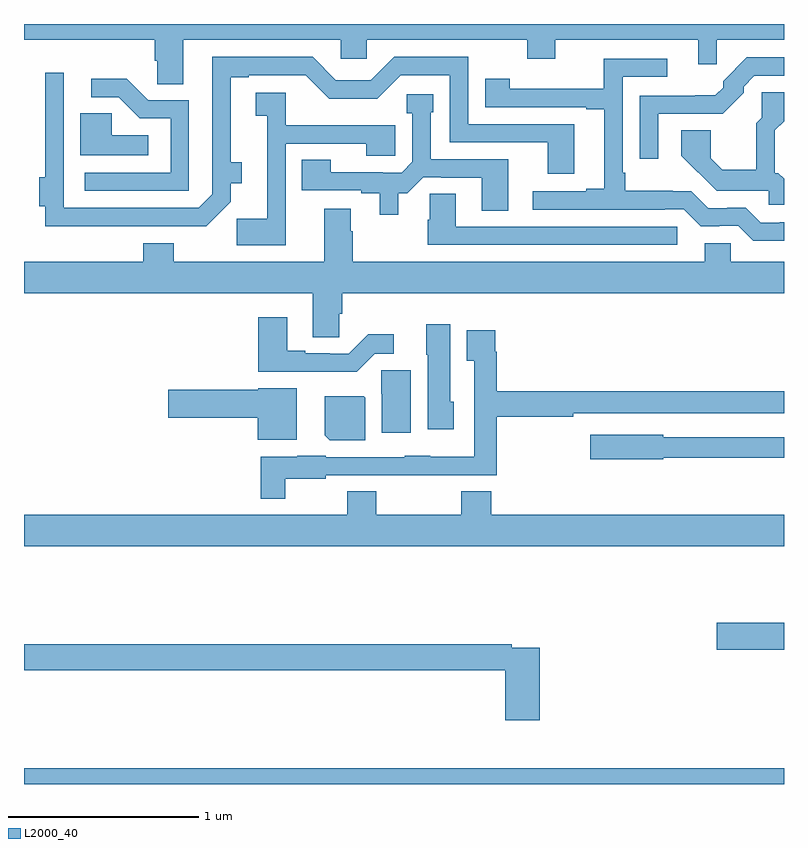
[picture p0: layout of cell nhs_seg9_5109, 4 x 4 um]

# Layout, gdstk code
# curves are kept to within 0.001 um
import gdstk
lib = gdstk.Library(unit=1e-6, precision=1e-09)
def R(c, l, rs):  # rectangles x0, y0, x1, y1
    for r in rs: c.add(gdstk.rectangle(r[:2], r[2:], *l))
def P(c, l, *ps):  # polygons
    for p in ps: c.add(gdstk.Polygon(p, *l))
L2000_40 = (2000, 40)

nhs_seg9_5109 = lib.new_cell('nhs_seg9_5109')
R(nhs_seg9_5109, L2000_40, [(407,1196.5,411,1196.584), (410.646,1197.206,411,1197.348)])
P(nhs_seg9_5109, L2000_40, [(407.839,1200.416),(408.666,1200.416),(408.666,1200.318),(408.804,1200.318),(408.804,1200.416),(409.648,1200.416),(409.648,1200.317),(409.795,1200.317),(409.795,1200.416),(410.549,1200.416),(410.549,1200.287),(410.645,1200.287),(410.645,1200.416),(411,1200.416),(411,1200.5),(407,1200.5),(407,1200.416),(407.687,1200.416),(407.687,1200.307),(407.7,1200.307),(407.7,1200.184),(407.839,1200.184)],
  [(407.543,1199.436),(407.959,1199.435),(408.089,1199.564),(408.089,1199.663),(408.145,1199.663),(408.145,1199.773),(408.088,1199.773),(408.088,1200.219),(408.184,1200.219),(408.184,1200.231),(408.482,1200.231),(408.606,1200.107),(408.86,1200.107),(408.984,1200.231),(409.242,1200.231),(409.242,1199.877),(409.757,1199.877),(409.757,1199.712),(409.897,1199.712),(409.897,1199.973),(409.338,1199.973),(409.338,1200.327),(408.948,1200.327),(408.825,1200.204),(408.642,1200.204),(408.519,1200.327),(407.991,1200.327),(407.991,1199.604),(407.919,1199.532),(407.208,1199.532),(407.208,1200.244),(407.112,1200.244),(407.112,1199.693),(407.081,1199.693),(407.081,1199.54),(407.112,1199.54),(407.112,1199.435)],
  [(410.337,1200.027),(410.677,1200.027),(410.787,1200.137),(410.787,1200.171),(410.844,1200.228),(411,1200.228),(411,1200.324),(410.804,1200.324),(410.679,1200.199),(410.679,1200.165),(410.638,1200.124),(410.241,1200.123),(410.241,1199.79),(410.337,1199.79)],
  [(411,1199.457),(410.977,1199.457),(410.977,1199.454),(410.877,1199.454),(410.799,1199.532),(410.702,1199.532),(410.702,1199.529),(410.601,1199.529),(410.511,1199.619),(410.414,1199.619),(410.414,1199.623),(410.164,1199.623),(410.164,1199.716),(410.151,1199.716),(410.151,1200.222),(410.386,1200.222),(410.386,1200.318),(410.05,1200.318),(410.05,1200.16),(409.556,1200.16),(409.556,1200.211),(409.428,1200.211),(409.428,1200.063),(409.958,1200.063),(409.958,1200.051),(410.054,1200.051),(410.054,1199.632),(409.958,1199.632),(409.958,1199.619),(409.677,1199.619),(409.677,1199.523),(410.372,1199.523),(410.372,1199.526),(410.472,1199.526),(410.562,1199.436),(410.66,1199.436),(410.66,1199.439),(410.76,1199.439),(410.839,1199.36),(411,1199.36)],
  [(407.868,1200.099),(407.655,1200.099),(407.542,1200.212),(407.355,1200.212),(407.355,1200.114),(407.499,1200.114),(407.61,1200.003),(407.772,1200.003),(407.772,1199.718),(407.319,1199.718),(407.319,1199.622),(407.868,1199.622)],
  [(411,1199.685),(410.97,1199.715),(410.952,1199.715),(410.952,1199.94),(411,1199.988),(411,1200.142),(410.883,1200.142),(410.883,1200.007),(410.854,1199.978),(410.854,1199.733),(410.675,1199.733),(410.614,1199.794),(410.614,1199.942),(410.46,1199.942),(410.46,1199.806),(410.645,1199.622),(410.919,1199.622),(410.919,1199.55),(411,1199.55)],
  [(408.378,1199.871),(408.802,1199.871),(408.802,1199.806),(408.955,1199.806),(408.955,1199.967),(408.845,1199.967),(408.845,1199.968),(408.378,1199.968),(408.378,1200.139),(408.219,1200.139),(408.219,1200.018),(408.281,1200.018),(408.281,1199.475),(408.12,1199.475),(408.12,1199.336),(408.378,1199.336)],
  [(408.97,1199.61),(409.017,1199.61),(409.101,1199.694),(409.195,1199.694),(409.195,1199.691),(409.409,1199.691),(409.409,1199.518),(409.549,1199.518),(409.549,1199.787),(409.14,1199.787),(409.14,1200.036),(409.153,1200.036),(409.153,1200.129),(409.014,1200.129),(409.014,1200.031),(409.044,1200.031),(409.044,1199.775),(408.987,1199.718),(408.887,1199.718),(408.887,1199.721),(408.615,1199.721),(408.615,1199.786),(408.463,1199.786),(408.463,1199.625),(408.776,1199.625),(408.776,1199.61),(408.872,1199.61),(408.872,1199.496),(408.97,1199.496)],
  [(407.653,1199.914),(407.461,1199.914),(407.461,1200.029),(407.297,1200.029),(407.297,1199.81),(407.653,1199.81)],
  [(410.437,1199.433),(409.273,1199.433),(409.273,1199.606),(409.135,1199.606),(409.135,1199.469),(409.126,1199.469),(409.126,1199.337),(410.437,1199.337)],
  [(408.66,1198.974),(408.674,1198.974),(408.674,1199.084),(411,1199.084),(411,1199.248),(410.721,1199.248),(410.721,1199.346),(410.582,1199.346),(410.582,1199.248),(408.729,1199.248),(408.729,1199.408),(408.721,1199.408),(408.721,1199.527),(408.581,1199.527),(408.581,1199.248),(407.787,1199.248),(407.787,1199.347),(407.627,1199.347),(407.627,1199.248),(407,1199.248),(407,1199.084),(408.521,1199.084),(408.521,1198.852),(408.66,1198.852)],
  [(408.846,1198.764),(408.946,1198.764),(408.946,1198.867),(408.811,1198.867),(408.708,1198.764),(408.608,1198.764),(408.608,1198.767),(408.481,1198.767),(408.481,1198.78),(408.385,1198.78),(408.385,1198.957),(408.233,1198.957),(408.233,1198.67),(408.751,1198.67)],
  [(409.261,1198.512),(409.243,1198.512),(409.243,1198.921),(409.118,1198.921),(409.118,1198.758),(409.124,1198.758),(409.124,1198.368),(409.261,1198.368)],
  [(408.376,1198.106),(408.588,1198.106),(408.588,1198.125),(409.005,1198.125),(409.005,1198.124),(409.237,1198.124),(409.237,1198.125),(409.487,1198.125),(409.487,1198.432),(409.892,1198.432),(409.892,1198.452),(411,1198.452),(411,1198.568),(409.487,1198.568),(409.487,1198.775),(409.48,1198.775),(409.48,1198.888),(409.331,1198.888),(409.331,1198.727),(409.371,1198.727),(409.371,1198.222),(409.137,1198.222),(409.137,1198.228),(409.005,1198.228),(409.005,1198.221),(408.588,1198.221),(408.588,1198.228),(408.438,1198.228),(408.438,1198.222),(408.247,1198.222),(408.247,1198.001),(408.376,1198.001)],
  [(409.036,1198.677),(408.88,1198.677),(408.88,1198.554),(408.884,1198.554),(408.884,1198.35),(409.036,1198.35)],
  [(408.436,1198.582),(408.234,1198.582),(408.234,1198.574),(407.76,1198.574),(407.76,1198.427),(408.23,1198.427),(408.23,1198.313),(408.436,1198.313)],
  [(408.796,1198.532),(408.788,1198.54),(408.584,1198.54),(408.584,1198.336),(408.61,1198.31),(408.796,1198.31)],
  [(410.364,1198.218),(411,1198.218),(411,1198.326),(410.364,1198.326),(410.364,1198.339),(409.98,1198.339),(409.98,1198.21),(410.364,1198.21)],
  [(411,1197.916),(409.46,1197.916),(409.46,1198.04),(409.3,1198.04),(409.3,1197.916),(408.855,1197.916),(408.855,1198.04),(408.7,1198.04),(408.7,1197.916),(407,1197.916),(407,1197.752),(411,1197.752)],
  [(409.715,1197.216),(409.568,1197.216),(409.568,1197.236),(407,1197.236),(407,1197.1),(409.532,1197.1),(409.532,1196.835),(409.715,1196.835)])

lib.write_gds('nhs_seg9_5109.gds')
